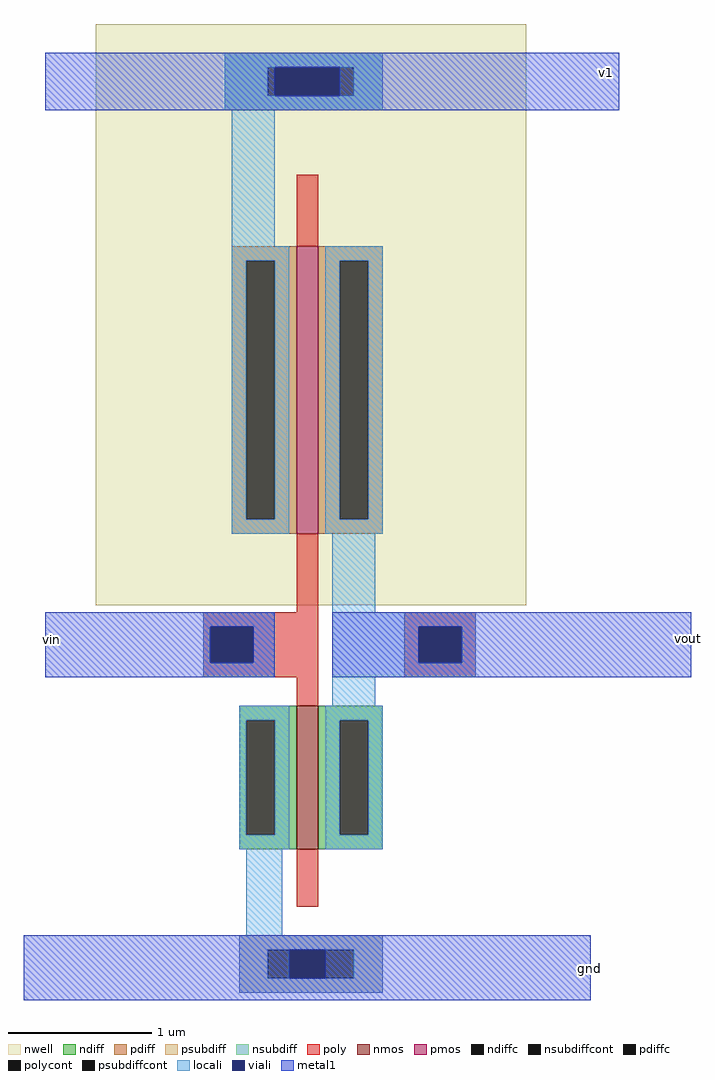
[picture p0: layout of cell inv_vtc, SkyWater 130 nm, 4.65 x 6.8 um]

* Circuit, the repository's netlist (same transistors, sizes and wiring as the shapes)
* SPICE3 file created from inv_vtc.ext - technology: sky130A


X0 vout vin v1 v1 sky130_fd_pr__pfet_01v8 ad=0.9 pd=4.9 as=0.9 ps=4.9 w=2 l=0.15
X1 vout vin gnd gnd sky130_fd_pr__nfet_01v8 ad=0.45 pd=2.9 as=0.4 ps=2.8 w=1 l=0.15

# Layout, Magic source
magic
tech sky130A
<< nwell >>
rect -150 -100 150 305
<< nmos >>
rect -10 -270 5 -170
<< pmos >>
rect -10 -50 5 150
<< ndiff >>
rect -50 -180 -10 -170
rect -50 -260 -45 -180
rect -25 -260 -10 -180
rect -50 -270 -10 -260
rect 5 -180 50 -170
rect 5 -260 20 -180
rect 40 -260 50 -180
rect 5 -270 50 -260
<< pdiff >>
rect -55 140 -10 150
rect -55 -40 -45 140
rect -25 -40 -10 140
rect -55 -50 -10 -40
rect 5 140 50 150
rect 5 -40 20 140
rect 40 -40 50 140
rect 5 -50 50 -40
<< ndiffc >>
rect -45 -260 -25 -180
rect 20 -260 40 -180
<< pdiffc >>
rect -45 -40 -25 140
rect 20 -40 40 140
<< psubdiff >>
rect -50 -340 50 -330
rect -50 -360 -30 -340
rect 30 -360 50 -340
rect -50 -370 50 -360
<< nsubdiff >>
rect -60 275 50 285
rect -60 255 -30 275
rect 30 255 50 275
rect -60 245 50 255
<< psubdiffcont >>
rect -30 -360 30 -340
<< nsubdiffcont >>
rect -30 255 30 275
<< poly >>
rect -10 150 5 200
rect -10 -105 5 -50
rect -75 -115 5 -105
rect -75 -140 -70 -115
rect -40 -140 5 -115
rect -75 -150 5 -140
rect 65 -115 115 -105
rect 65 -140 75 -115
rect 105 -140 115 -115
rect 65 -150 115 -140
rect -10 -170 5 -150
rect -10 -310 5 -270
<< polycont >>
rect -70 -140 -40 -115
rect 75 -140 105 -115
<< locali >>
rect -60 275 50 285
rect -60 255 -30 275
rect 30 255 50 275
rect -60 245 50 255
rect -55 150 -25 245
rect -55 140 -15 150
rect -55 -40 -45 140
rect -25 -40 -15 140
rect -55 -50 -15 -40
rect 10 140 50 150
rect 10 -40 20 140
rect 40 -40 50 140
rect 10 -50 50 -40
rect 15 -105 45 -50
rect -75 -115 -25 -105
rect -75 -140 -70 -115
rect -40 -140 -25 -115
rect -75 -150 -25 -140
rect 15 -115 115 -105
rect 15 -140 75 -115
rect 105 -140 115 -115
rect 15 -150 115 -140
rect 15 -170 45 -150
rect -50 -180 -15 -170
rect -50 -260 -45 -180
rect -25 -260 -15 -180
rect -50 -270 -15 -260
rect 10 -180 50 -170
rect 10 -260 20 -180
rect 40 -260 50 -180
rect 10 -270 50 -260
rect -45 -330 -20 -270
rect -50 -340 50 -330
rect -50 -360 -30 -340
rect 30 -360 50 -340
rect -50 -370 50 -360
<< viali >>
rect -25 255 20 275
rect -70 -140 -40 -115
rect 75 -140 105 -115
rect -15 -360 10 -340
<< metal1 >>
rect -185 275 215 285
rect -185 255 -25 275
rect 20 255 215 275
rect -185 245 215 255
rect -185 -115 -25 -105
rect -185 -140 -70 -115
rect -40 -140 -25 -115
rect -185 -150 -25 -140
rect 15 -115 265 -105
rect 15 -140 75 -115
rect 105 -140 265 -115
rect 15 -150 265 -140
rect -200 -340 195 -330
rect -200 -360 -15 -340
rect 10 -360 195 -340
rect -200 -375 195 -360
<< labels >>
rlabel metal1 263 -123 263 -123 7 vout
port 2 w
rlabel metal1 -181 -124 -181 -124 1 vin
port 3 n
rlabel metal1 194 -353 194 -353 1 gnd
port 4 n
rlabel metal1 206 271 206 271 1 v1
port 1 n
<< end >>
